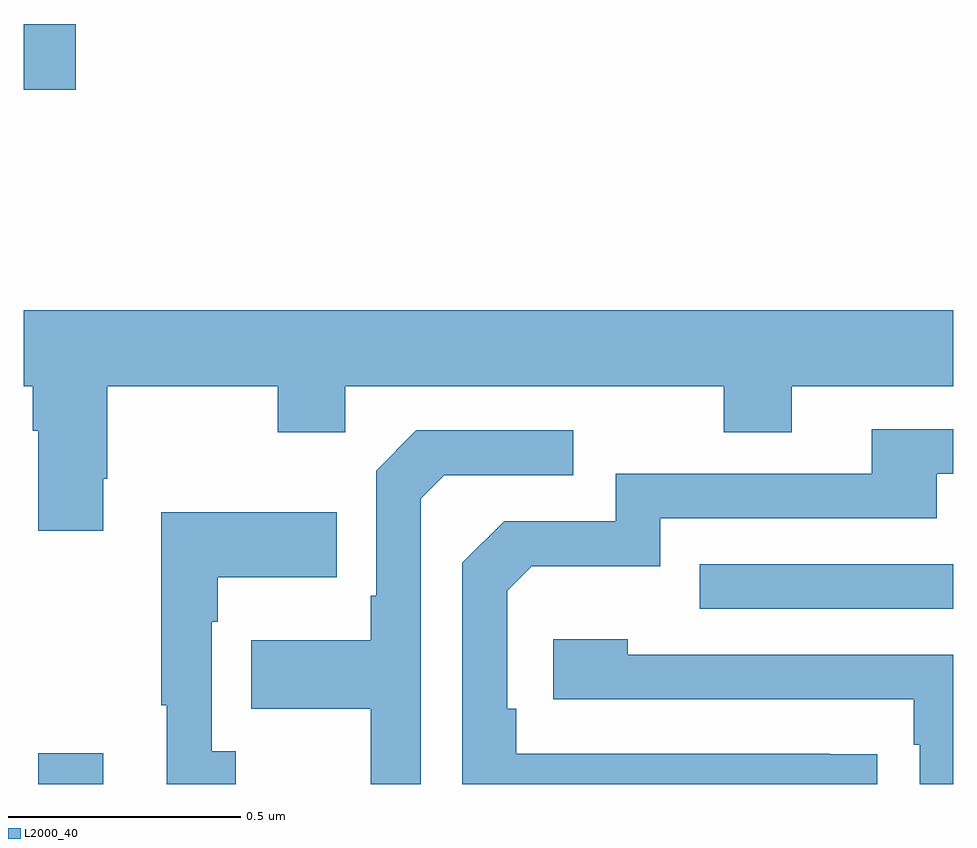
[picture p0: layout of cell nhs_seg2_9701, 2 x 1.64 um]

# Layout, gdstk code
import gdstk
lib = gdstk.Library(unit=1e-6, precision=1e-09)
def R(c, l, rs):  # rectangles x0, y0, x1, y1
    for r in rs: c.add(gdstk.rectangle(r[:2], r[2:], *l))
def P(c, l, *ps):  # polygons
    for p in ps: c.add(gdstk.Polygon(p, *l))
L2000_40 = (2000, 40)

nhs_seg2_9701 = lib.new_cell('nhs_seg2_9701')
R(nhs_seg2_9701, L2000_40, [(232.031,626.8,232.171,626.866), (233.455,627.177,234,627.273), (232,628.294,232.111,628.436)])
P(nhs_seg2_9701, L2000_40, [(232.171,627.457),(232.179,627.457),(232.179,627.656),(232.546,627.656),(232.546,627.557),(232.692,627.557),(232.692,627.656),(233.506,627.656),(233.506,627.557),(233.653,627.557),(233.653,627.656),(234,627.656),(234,627.82),(232,627.82),(232,627.656),(232.019,627.656),(232.019,627.56),(232.031,627.56),(232.031,627.345),(232.171,627.345)],
  [(233.837,626.864),(233.735,626.864),(233.735,626.865),(233.06,626.865),(233.06,626.962),(233.04,626.962),(233.04,627.216),(233.093,627.269),(233.37,627.269),(233.37,627.372),(233.965,627.372),(233.965,627.468),(234,627.468),(234,627.564),(233.825,627.564),(233.825,627.468),(233.274,627.468),(233.274,627.366),(233.034,627.366),(232.944,627.276),(232.944,626.8),(233.837,626.8)],
  [(232.854,627.414),(232.905,627.465),(233.182,627.465),(233.182,627.561),(232.845,627.561),(232.758,627.474),(232.758,627.205),(232.746,627.205),(232.746,627.109),(232.489,627.109),(232.489,626.962),(232.746,626.962),(232.746,626.8),(232.854,626.8)],
  [(232.456,626.87),(232.404,626.87),(232.404,627.149),(232.417,627.149),(232.417,627.245),(232.673,627.245),(232.673,627.385),(232.296,627.385),(232.296,626.969),(232.307,626.969),(232.307,626.8),(232.456,626.8)],
  [(234,627.078),(233.3,627.078),(233.3,627.112),(233.139,627.112),(233.139,626.982),(233.915,626.982),(233.915,626.885),(233.928,626.885),(233.928,626.8),(234,626.8)])

lib.write_gds('nhs_seg2_9701.gds')
